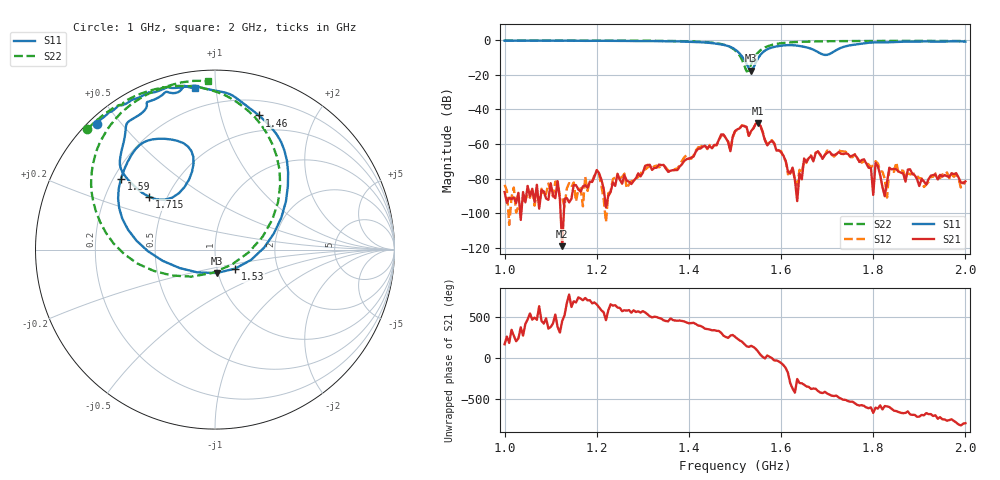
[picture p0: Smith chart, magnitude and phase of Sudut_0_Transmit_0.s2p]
# Hz S RI R 50
! CMT, C1220, 16058040, 17.2.0/1
! Date: 15/08/2018 08:55:42
! Data: Format (Calibration Info)
! Freq  S11: Re/Im (F2)  S21: Re/Im (F2)  S12: Re/Im (F2)  S22: Re/Im (F2)
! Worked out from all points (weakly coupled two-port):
!   201 points, 1 GHz to 2 GHz, reference 50 ohm
!   highest |S21| = -47.93 dB at 1.55 GHz (marker M1); lowest = -119.1 dB at 1.125 GHz (marker M2)
!   lowest |S11| = -17.7 dB at 1.535 GHz (marker M3), VSWR 1.30, Z = 49.2 - j13.1 ohm
!   |S11| at or under -10 dB: 1.517 GHz to 1.551 GHz (34.58 MHz wide, 2.25 % of centre)
!   |S22| runs from -18.0 to -0.2 dB; largest |S21 - S12| = 0.00027
!   S11 on the Smith chart (normalised r, x): 1 GHz: 0.02, +0.43; 1.46 GHz: 0.34, +1.32; 1.53 GHz: 1.22, -0.27; 1.59 GHz: 0.23, +0.32; 1.715 GHz: 0.40, +0.30; 2 GHz: 0.09, +0.88
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1e9  -0.6563 0.7018  -4.04e-05 4.41e-06  4.72e-05 4.59e-05  -0.7109 0.6719
1.125e9  -0.5429 0.7976  -1.39e-07 1.1e-06  5.38e-06 2.75e-05  -0.6054 0.7627
1.17e9  -0.4903 0.8159  5.86e-05 -1.07e-05  1.42e-05 -6.47e-06  -0.559 0.7938
1.335e9  -0.2382 0.9002  -0.000173 0.000185  -0.000159 0.000139  -0.3263 0.8957
1.375e9  -0.1061 0.9119  -3.13e-05 0.000173  -5.3e-05 0.000186  -0.2308 0.9108
1.46e9  0.2447 0.7474  0.00086 -0.000368  0.000791 -0.000436  0.1523 0.7999
1.475e9  0.3426 0.6435  0.000261 -0.00185  0.000331 -0.00176  0.2553 0.698
1.49e9  0.401 0.4958  8.4e-05 -0.000611  3.63e-05 -0.00062  0.3431 0.5229
1.5e9  0.406 0.3541  -0.000203 -0.00235  -0.000232 -0.00227  0.3632 0.358
1.53e9  0.1105 -0.1065  -0.00132 0.00109  -0.00134 0.00106  -0.0155 -0.1299
1.535e9  0.00901 -0.1304  -0.00211 0.00104  -0.00207 0.00106  -0.1303 -0.1506
1.55e9  -0.2916 -0.0625  0.000383 0.00399  0.000215 0.004  -0.4325 -0.0777
1.59e9  -0.5234 0.3957  0.000588 -0.00026  0.00061 -0.000326  -0.6902 0.3592
1.63e9  -0.3461 0.6143  5.04e-05 -7.65e-05  5.58e-05 -7.37e-05  -0.6362 0.6057
1.67e9  -0.1205 0.5161  0.000311 -3.57e-05  0.000343 -1.31e-05  -0.5516 0.7311
1.715e9  -0.3676 0.2944  -6.17e-05 -0.000468  -7.99e-05 -0.000424  -0.4652 0.81
1.78e9  -0.5021 0.6336  -0.000285 0.000217  -0.000249 0.000189  -0.3557 0.8752
1.8e9  -0.4917 0.7019  1.83e-05 2.81e-05  4.04e-05 0.000244  -0.3254 0.8886
1.805e9  -0.4843 0.7111  -0.000142 0.000243  6.38e-05 0.00031  -0.317 0.892
1.82e9  -0.4402 0.7386  -8.88e-06 5.64e-05  -8.38e-05 0.000132  -0.2953 0.901
1.835e9  -0.392 0.7762  -0.000127 0.000161  -0.000142 0.000133  -0.274 0.9079
2e9  -0.1113 0.9006  3.08e-05 -7.65e-05  2.12e-05 -6.6e-05  -0.0387 0.9419
